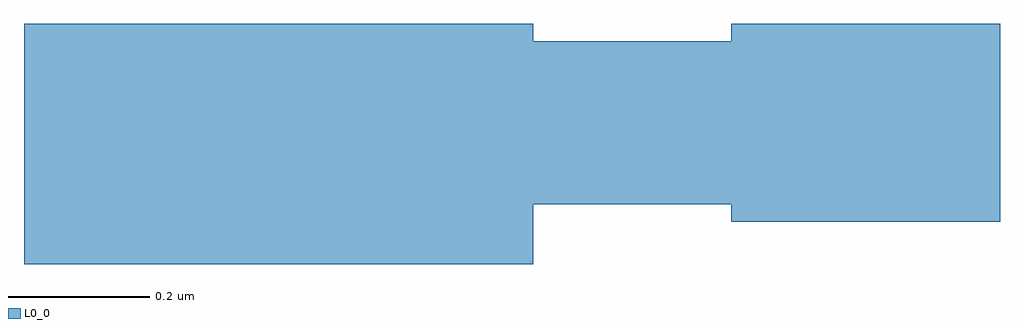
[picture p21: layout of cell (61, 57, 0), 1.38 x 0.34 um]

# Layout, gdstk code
import gdstk
lib = gdstk.Library(unit=1e-6, precision=1e-09)
def P(c, l, *ps):  # polygons
    for p in ps: c.add(gdstk.Polygon(p, *l))
L0_0 = (0, 0)

c__61__57__0_ = lib.new_cell('(61, 57, 0)')
P(c__61__57__0_, L0_0, [(934.04,911.54),(934.42,911.54),(934.42,911.26),(934.04,911.26),(934.04,911.54)],
  [(934.7,911.54),(935.08,911.54),(935.08,911.26),(934.7,911.26),(934.7,911.54)],
  [(933.7,911.54),(934.42,911.54),(934.42,911.2),(933.7,911.2),(933.7,911.54)],
  [(934.23,911.515),(935.005,911.515),(935.005,911.285),(934.23,911.285),(934.23,911.515)],
  [(934.04,911.54),(934.42,911.54),(934.42,911.26),(934.04,911.26),(934.04,911.54)],
  [(933.7,911.54),(934.42,911.54),(934.42,911.2),(933.7,911.2),(933.7,911.54)])

lib.write_gds('_61__57__0_.gds')
